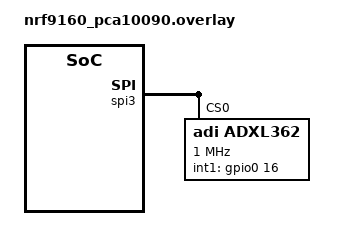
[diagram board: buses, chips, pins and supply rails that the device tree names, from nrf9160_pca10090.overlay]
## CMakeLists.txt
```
#
#  Copyright (c) 2018 Analog Devices Inc.
#
#  SPDX-License-Identifier: Apache-2.0
#
cmake_minimum_required(VERSION 3.13.1)
include(../../cmake/boilerplate.cmake NO_POLICY_SCOPE)
include($ENV{ZEPHYR_BASE}/cmake/app/boilerplate.cmake NO_POLICY_SCOPE)
project(adxl362)

FILE(GLOB app_sources src/*.c)
target_sources(app PRIVATE ${app_sources})
```

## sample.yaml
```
sample:
  name: ADXL362 High-g Accelerometer Sensor
tests:
  test:
    harness: sensor
    tags: sensors
    depends_on: spi
    platform_whitelist: nrf9160_pca10090
```

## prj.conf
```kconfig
CONFIG_STDOUT_CONSOLE=y
CONFIG_LOG=y
CONFIG_LOG_DEFAULT_LEVEL=4
CONFIG_SPI=y
CONFIG_SENSOR=y
CONFIG_ADXL362=n
CONFIG_ADXL372=y
CONFIG_ADXL372_SPI=y
CONFIG_SENSOR_LOG_LEVEL_WRN=y
CONFIG_ADXL372_MEASUREMENT_MODE=y
CONFIG_ADXL372_HPF_DISABLE=y

CONFIG_HW_STACK_PROTECTION=y
CONFIG_STACK_SENTINEL=y

#CONFIG_ADP536X=y
```

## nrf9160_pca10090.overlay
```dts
/*
 * Copyright (c) 2019 Linaro Limited
 *
 * SPDX-License-Identifier: Apache-2.0
 */

&spi3 {
	adxl362@0 {
		compatible = "adi,adxl362";
		reg = <0>;
		spi-max-frequency = <1000000>;
		label = "ADXL362";
		int1-gpios = <&gpio0 16 0>;
	};
};
```

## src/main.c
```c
/*
 * Copyright (c) 2018 Analog Devices Inc.
 *
 * SPDX-License-Identifier: Apache-2.0
 */

#include <zephyr.h>
#include <sensor.h>
#include <stdio.h>

void main(void)
{
	struct sensor_value accel[3];

	struct device *adxl362_dev = device_get_binding(DT_ADI_ADXL362_0_LABEL);
	if (adxl362_dev == NULL) {
		printf("Could not get %s device\n", DT_ADI_ADXL362_0_LABEL);
		return;
	}

	struct device *adxl372_dev = device_get_binding(DT_ADI_ADXL372_0_LABEL);
	if (adxl372_dev == NULL) {
		printf("Could not get %s device\n", DT_ADI_ADXL372_0_LABEL);
		return;
	}

	printk("Get data\n");

	while (1) {
		sensor_sample_fetch(adxl362_dev);

		sensor_channel_get(adxl362_dev, SENSOR_CHAN_ACCEL_X, &accel[0]);
		sensor_channel_get(adxl362_dev, SENSOR_CHAN_ACCEL_Y, &accel[1]);
		sensor_channel_get(adxl362_dev, SENSOR_CHAN_ACCEL_Z, &accel[2]);

		printf("ADXL362: X %f - Y %f - Z %f\n",
			sensor_value_to_double(&accel[0]),
			sensor_value_to_double(&accel[1]),
			sensor_value_to_double(&accel[2]));

		sensor_sample_fetch(adxl372_dev);

		sensor_channel_get(adxl372_dev, SENSOR_CHAN_ACCEL_X, &accel[0]);
		sensor_channel_get(adxl372_dev, SENSOR_CHAN_ACCEL_Y, &accel[1]);
		sensor_channel_get(adxl372_dev, SENSOR_CHAN_ACCEL_Z, &accel[2]);

		printf("ADXL372: X %f - Y %f - Z %f\n\n",
			sensor_value_to_double(&accel[0]),
			sensor_value_to_double(&accel[1]),
			sensor_value_to_double(&accel[2]));
		k_sleep(2000);
	}
}
```
